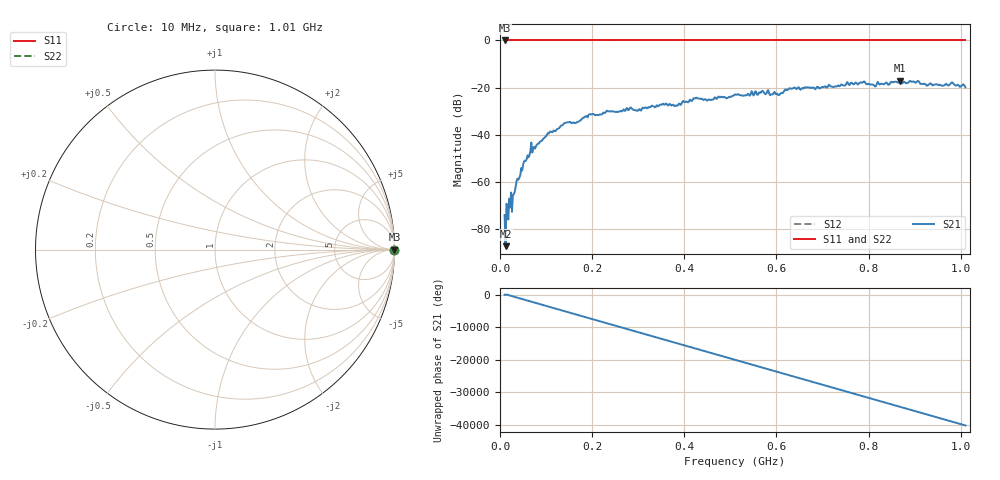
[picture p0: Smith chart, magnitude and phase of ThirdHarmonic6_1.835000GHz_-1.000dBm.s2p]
! 8/16/2025 10:13:23 PM
! C:\ANRITSUVNA\TEMP\TEMP.S2P
! CHANNEL.1
! TR.MEASUREMENT
! RAW.DATA
! RF.CORRECTION.OFF
! AVERAGING.OFF
! IF.BANDWIDTH: 5KHZ
! SWEEPTYPE:  FREQ.SWEEP(Linear)
! Reference Plane Port Info
! PORT:  PORT1  PORT2
! DISTANCE:  0  m  0  m
! TIME:  0  s  0  s
! PHASE.OFFSET:  0  deg.  0  deg.
! LOSS:  0  dB  0  dB
! REF.LOSS:  0  dB  0  dB
! REF.FREQ:  0  Hz  0  Hz
! Power Info
! POWER:  -20  dBm  -20  dBm
! EFF.POWER:  -20  dBm  -20  dBm
! SOURCE.ATTEN:  0  dB  0  dB
! TEST.ATTEN:  0  dB  0  dB
# GHZ S RI R 50.0
! FREQ.GHZ  S11RE  S11IM  S21RE  S21IM  S12RE  S12IM  S22RE  S22IM
!; PortSelection: Port_12
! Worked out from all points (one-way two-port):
!   501 points, 10 MHz to 1.01 GHz, reference 50 ohm
!   highest |S21| = -17.08 dB at 868 MHz (marker M1); lowest = -87.2 dB at 12 MHz (marker M2)
!   lowest |S11| = 0.0 dB at 10 MHz (marker M3)
!   |S11| at or under -10 dB: nowhere
!   |S22| runs from 0.0 to 0.0 dB; largest |S21 - S12| = 1.1
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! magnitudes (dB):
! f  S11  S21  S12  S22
! 10 MHz  0.0  -74.0  0.0  0.0
! 12 MHz  0.0  -87.2  0.0  0.0
! 14 MHz  0.0  -69.2  0.0  0.0
! 18 MHz  0.0  -75.9  0.0  0.0
! 22 MHz  0.0  -70.7  0.0  0.0
! 30 MHz  0.0  -65.2  0.0  0.0
! 34 MHz  0.0  -62.0  0.0  0.0
! 50 MHz  0.0  -52.9  0.0  0.0
! 70 MHz  0.0  -47.5  0.0  0.0
! 140 MHz  0.0  -35.0  0.0  0.0
! 178 MHz  0.0  -33.3  0.0  0.0
! 198 MHz  0.0  -31.4  0.0  0.0
! 344 MHz  0.0  -27.9  0.0  0.0
! 510 MHz  0.0  -22.9  0.0  0.0
! 568 MHz  0.0  -21.6  0.0  0.0
! 604 MHz  0.0  -23.2  0.0  0.0
! 630 MHz  0.0  -20.4  0.0  0.0
! 678 MHz  0.0  -20.1  0.0  0.0
! 788 MHz  0.0  -17.6  0.0  0.0
! 844 MHz  0.0  -18.8  0.0  0.0
! 868 MHz  0.0  -17.1  0.0  0.0
! 1.01 GHz  0.0  -19.8  0.0  0.0
